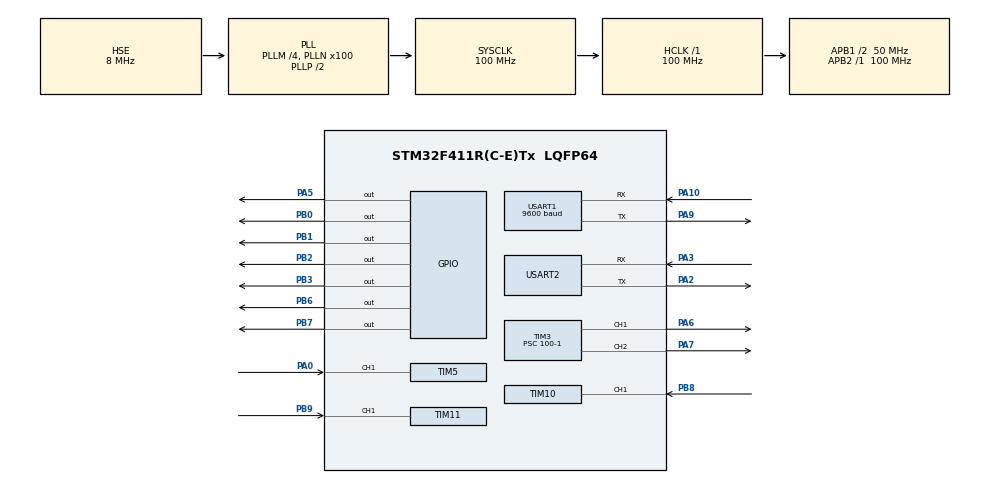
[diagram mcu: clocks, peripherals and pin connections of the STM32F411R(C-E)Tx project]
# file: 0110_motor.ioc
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Mcu.Family=STM32F4
Mcu.Name=STM32F411R(C-E)Tx
Mcu.Package=LQFP64
NVIC.PriorityGroup=NVIC_PRIORITYGROUP_4
NVIC.TIM1_TRG_COM_TIM11_IRQn=true\:0\:0\:false\:false\:true\:true\:true\:true
NVIC.TIM1_UP_TIM10_IRQn=true\:0\:0\:false\:false\:true\:true\:true\:true
NVIC.TIM5_IRQn=true\:0\:0\:false\:false\:true\:true\:true\:true
NVIC.USART1_IRQn=true\:0\:0\:false\:false\:true\:true\:true\:true
NVIC.USART2_IRQn=true\:0\:0\:false\:false\:true\:true\:true\:true
PA0-WKUP.Signal=S_TIM5_CH1
PA10.Mode=Asynchronous
PA10.Signal=USART1_RX
PA13.Mode=Serial_Wire
PA13.Signal=SYS_JTMS-SWDIO
PA14.Mode=Serial_Wire
PA14.Signal=SYS_JTCK-SWCLK
PA2.Mode=Asynchronous
PA2.Signal=USART2_TX
PA3.Mode=Asynchronous
PA3.Signal=USART2_RX
PA5.GPIO_Speed=GPIO_SPEED_FREQ_HIGH
PA5.Signal=GPIO_Output
PA6.Signal=S_TIM3_CH1
PA7.Signal=S_TIM3_CH2
PA9.Mode=Asynchronous
PA9.Signal=USART1_TX
PB0.Signal=GPIO_Output
PB1.Signal=GPIO_Output
PB2.Signal=GPIO_Output
PB3.Signal=GPIO_Output
PB6.GPIO_Speed=GPIO_SPEED_FREQ_HIGH
PB6.Signal=GPIO_Output
PB7.GPIO_Speed=GPIO_SPEED_FREQ_HIGH
PB7.Signal=GPIO_Output
PB8.Signal=S_TIM10_CH1
PB9.Signal=S_TIM11_CH1
PH0\ -\ OSC_IN.Mode=HSE-External-Oscillator
PH0\ -\ OSC_IN.Signal=RCC_OSC_IN
PH1\ -\ OSC_OUT.Mode=HSE-External-Oscillator
PH1\ -\ OSC_OUT.Signal=RCC_OSC_OUT
ProjectManager.HeapSize=0x200
ProjectManager.StackSize=0x400
ProjectManager.TargetToolchain=STM32CubeIDE
RCC.48MHZClocksFreq_Value=50000000
RCC.AHBFreq_Value=100000000
RCC.APB1CLKDivider=RCC_HCLK_DIV2
RCC.APB1Freq_Value=50000000
RCC.APB1TimFreq_Value=100000000
RCC.APB2Freq_Value=100000000
RCC.APB2TimFreq_Value=100000000
RCC.CortexFreq_Value=100000000
RCC.HCLKFreq_Value=100000000
RCC.HSE_VALUE=8000000
RCC.HSI_VALUE=16000000
RCC.LSE_VALUE=32768
RCC.PLLM=4
RCC.PLLN=100
RCC.PLLSourceVirtual=RCC_PLLSOURCE_HSE
RCC.RCC_RTC_Clock_Source=RCC_RTCCLKSOURCE_LSI
RCC.RCC_RTC_Clock_SourceVirtual=RCC_RTCCLKSOURCE_LSI
RCC.SYSCLKFreq_VALUE=100000000
RCC.SYSCLKSource=RCC_SYSCLKSOURCE_PLLCLK
RCC.VCOOutputFreq_Value=200000000
SH.S_TIM10_CH1.0=TIM10_CH1,Input_Capture1_from_TI1
SH.S_TIM11_CH1.0=TIM11_CH1,Input_Capture1_from_TI1
SH.S_TIM3_CH1.0=TIM3_CH1,PWM Generation1 CH1
SH.S_TIM3_CH2.0=TIM3_CH2,PWM Generation2 CH2
SH.S_TIM5_CH1.0=TIM5_CH1,Input_Capture1_from_TI1
TIM10.Channel=TIM_CHANNEL_1
TIM10.Prescaler=100-1
TIM11.Channel=TIM_CHANNEL_1
TIM11.Prescaler=100-1
TIM3.Channel-PWM\ Generation1\ CH1=TIM_CHANNEL_1
TIM3.Channel-PWM\ Generation2\ CH2=TIM_CHANNEL_2
TIM3.Period=1000-1
TIM3.Prescaler=100-1
TIM5.Channel-Input_Capture1_from_TI1=TIM_CHANNEL_1
TIM5.Prescaler=100-1
USART1.BaudRate=9600
USART1.VirtualMode=VM_ASYNC
USART2.VirtualMode=VM_ASYNC
VP_TIM10_VS_ClockSourceINT.Mode=Enable_Timer
VP_TIM11_VS_ClockSourceINT.Mode=Enable_Timer
VP_TIM3_VS_ClockSourceINT.Mode=Internal
VP_TIM5_VS_ClockSourceINT.Mode=Internal
board=custom

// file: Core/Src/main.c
/* USER CODE BEGIN Header */
/**
  ******************************************************************************
  * @file           : main.c
  * @brief          : Main program body
  ******************************************************************************
  * @attention
  *
  * Copyright (c) 2025 STMicroelectronics.
  * All rights reserved.
  *
  * This software is licensed under terms that can be found in the LICENSE file
  * in the root directory of this software component.
  * If no LICENSE file comes with this software, it is provided AS-IS.
  *
  ******************************************************************************
  */
/* USER CODE END Header */
#include "main.h"
#include "tim.h"
#include "usart.h"
#include "gpio.h"

/* USER CODE BEGIN Includes */
#include "stm32f4xx_hal.h"
#include "ultrasonic.h"
/* USER CODE END Includes */

/* USER CODE BEGIN PTD */
typedef enum {
    FORWARD_DIR = 0,   // 정방향
    BACKWARD_DIR = 1,   // 역방향
    RIGHT_TURN = 2,
    LEFT_TURN = 3,
    BREAKING = 4
} Motor_Direction;

typedef enum {
  STOP_CAR = 0,   // RC 대기
  START_CAR = 1 // RC 시작
} CAR_Starting;

typedef enum {
    STOP_MODE = 0,
    MANUAL_MODE = 2, // 수동모드
    SELF_DRIVING_MODE = 3 // 자율주행 모드
} RC_Mode;

/* USER CODE END PTD */

/* USER CODE BEGIN PD */
#define RX_BUFFER_SIZE 64

#define FORWARD 'F'
#define BACKWARD 'B'
#define LEFT 'L'
#define RIGHT 'R'
#define CIRCLE 'C'
#define CROSS 'X'
#define TRIANGLE 'T'
#define SQUARE 'S'
#define START 'A'
#define PAUSE 'P'

/* USER CODE END PD */

/* USER CODE BEGIN PV */

//uint8_t readData_in2;
//uint8_t readData_in3;

uint8_t rx_buffer[RX_BUFFER_SIZE];
uint16_t rx_index = 0;

uint8_t rx_data[64];

uint16_t pwm_num;

uint8_t rc_start = 0; // 테스트 후 삭제
uint8_t rc_mode = 0;    // 테스트 후 삭제
uint8_t ultra_test = 0; // 테스트 후 삭제

uint16_t FL_Dist = 0;
uint16_t FR_Dist = 0;
uint16_t B_Dist = 0;

uint8_t current_state = 0;  // Call the function and store its result

/* USER CODE END PV */

void SystemClock_Config(void);
/* USER CODE BEGIN PFP */
void HC06_SendData(uint8_t *data, uint16_t size);
/* USER CODE END PFP */

/* USER CODE BEGIN 0 */

void Motor_Control(void) {
  // 모터 1 정방향
  HAL_GPIO_WritePin(GPIOB, GPIO_PIN_0, GPIO_PIN_SET);
  HAL_GPIO_WritePin(GPIOB, GPIO_PIN_1, GPIO_PIN_RESET);

  // 모터 2 정방향
  HAL_GPIO_WritePin(GPIOB, GPIO_PIN_2, GPIO_PIN_SET);
  HAL_GPIO_WritePin(GPIOB, GPIO_PIN_3, GPIO_PIN_RESET);

  HAL_Delay(3000);  // 3초 대기

  // 모터 1 역방향
  HAL_GPIO_WritePin(GPIOB, GPIO_PIN_0, GPIO_PIN_RESET);
  HAL_GPIO_WritePin(GPIOB, GPIO_PIN_1, GPIO_PIN_SET);

  // 모터 2 역방향
  HAL_GPIO_WritePin(GPIOB, GPIO_PIN_2, GPIO_PIN_RESET);
  HAL_GPIO_WritePin(GPIOB, GPIO_PIN_3, GPIO_PIN_SET);

  HAL_Delay(3000);  // 3초 대기

  // 모터 정지
  HAL_GPIO_WritePin(GPIOB, GPIO_PIN_0, GPIO_PIN_RESET);
  HAL_GPIO_WritePin(GPIOB, GPIO_PIN_1, GPIO_PIN_RESET);
  HAL_GPIO_WritePin(GPIOB, GPIO_PIN_2, GPIO_PIN_RESET);
  HAL_GPIO_WritePin(GPIOB, GPIO_PIN_3, GPIO_PIN_RESET);
}

void Motor_PWM_Control(uint16_t pwm_num) {
  // 모터 1 (채널 1, PA6) 속도 설정 (0-1000)
  __HAL_TIM_SET_COMPARE(&htim3, TIM_CHANNEL_1, pwm_num);

  // 모터 2 (채널 2, PA7) 속도 설정 (0-1000)
  __HAL_TIM_SET_COMPARE(&htim3, TIM_CHANNEL_2, pwm_num);

  // PWM 시작 (CubeMX에서 이미 설정했다면 불필요)
  HAL_TIM_PWM_Start(&htim3, TIM_CHANNEL_1);
  HAL_TIM_PWM_Start(&htim3, TIM_CHANNEL_2);
}

void Motor_Direction_Control(Motor_Direction dir) {
//void Motor_Direction_Control() {
  // PB0, PB1: 모터 1 방향 제어
  // PB2, PB3: 모터 2 방향 제어
  switch(dir){
    case FORWARD_DIR:
      HAL_GPIO_WritePin(GPIOB, GPIO_PIN_0, GPIO_PIN_SET);   // 정방향
      HAL_GPIO_WritePin(GPIOB, GPIO_PIN_1, GPIO_PIN_RESET);
      HAL_GPIO_WritePin(GPIOB, GPIO_PIN_2, GPIO_PIN_SET);   // 정방향
      HAL_GPIO_WritePin(GPIOB, GPIO_PIN_3, GPIO_PIN_RESET);
      break;

    case BACKWARD_DIR:
      HAL_GPIO_WritePin(GPIOB, GPIO_PIN_0, GPIO_PIN_RESET);
      HAL_GPIO_WritePin(GPIOB, GPIO_PIN_1, GPIO_PIN_SET);
      HAL_GPIO_WritePin(GPIOB, GPIO_PIN_2, GPIO_PIN_RESET);
      HAL_GPIO_WritePin(GPIOB, GPIO_PIN_3, GPIO_PIN_SET);
      break;

    case RIGHT_TURN:
      HAL_GPIO_WritePin(GPIOB, GPIO_PIN_0, GPIO_PIN_SET);
      HAL_GPIO_WritePin(GPIOB, GPIO_PIN_1, GPIO_PIN_RESET);
      HAL_GPIO_WritePin(GPIOB, GPIO_PIN_2, GPIO_PIN_RESET);
      HAL_GPIO_WritePin(GPIOB, GPIO_PIN_3, GPIO_PIN_SET);
      break;

    case LEFT_TURN:
      HAL_GPIO_WritePin(GPIOB, GPIO_PIN_0, GPIO_PIN_RESET);
      HAL_GPIO_WritePin(GPIOB, GPIO_PIN_1, GPIO_PIN_SET);
      HAL_GPIO_WritePin(GPIOB, GPIO_PIN_2, GPIO_PIN_SET);
      HAL_GPIO_WritePin(GPIOB, GPIO_PIN_3, GPIO_PIN_RESET);
      break;
  }

}

uint8_t Self_Driving_state(void){

  uint16_t Dist_Compare;
  Dist_Compare = FL_Dist - FR_Dist;

  if(FL_Dist >= 30 && FR_Dist >= 30){
    return FORWARD;
  }
  else if(Dist_Compare > 0 && FL_Dist > 20){  // 왼쪽으로 치우침
    return LEFT;
  }
  else if(Dist_Compare < 0 && FR_Dist > 20){  // 오른쪽으로 치우침
    return RIGHT;
  }
  else if(B_Dist >= 20){
    return BACKWARD;
  }
  else{
    return BREAKING;
  }

}

/* USER CODE END 0 */

int main(void)
{

  /* MCU Configuration--------------------------------------------------------*/

  /* Reset of all peripherals, Initializes the Flash interface and the Systick. */
  HAL_Init();

  /* Configure the system clock */
  SystemClock_Config();

  /* Initialize all configured peripherals */
  MX_GPIO_Init();
  MX_USART2_UART_Init();
  MX_TIM3_Init();
  MX_USART1_UART_Init();
  MX_TIM5_Init();
  MX_TIM10_Init();
  MX_TIM11_Init();
  /* USER CODE BEGIN 2 */
  HAL_UART_Receive_IT(&huart2, &ultra_test, 1);
  HAL_TIM_Base_Start(&htim10);  // Delay용

  HC06_StartReceive();
  HCSR04_Init();

  pwm_num = 450;

//  uint8_t rc_start = 0;
//  uint8_t rc_mode = 0;
  /* USER CODE END 2 */

  /* Infinite loop */
  /* USER CODE BEGIN WHILE */
  while (1)
  {
    // Check if data is available from Bluetooth
    HCSR04_Read();

    FL_Dist = Get_Distance1() - 3;
    FR_Dist = Get_Distance2();
    B_Dist = Get_Distance3();

    if (HC06_DataAvailable())
    {

      uint16_t data_length = HC06_GetReceivedData(rx_data, sizeof(rx_data));

      if (data_length > 0)    // RC카 시작 / 대기
      {
        switch(rx_data[0]){
          case PAUSE:
            rc_start = STOP_CAR;
            rc_mode = STOP_MODE;
            Motor_PWM_Control(0);        // 브레이크
            break;
          case START:
            rc_start = START_CAR;
            rc_mode = STOP_MODE;
            Motor_PWM_Control(0);        // 브레이크
            break;
          default:
            break;
        }
      }

      if (rc_start == START_CAR && data_length > 0)
      {
        switch(rx_data[0]){
        case SQUARE:
          Motor_PWM_Control(0);        // 브레이크
          HAL_Delay(500);
          rc_mode = MANUAL_MODE;
          break;
        case CIRCLE:
          Motor_PWM_Control(0);        // 브레이크
          HAL_Delay(500);
          rc_mode = SELF_DRIVING_MODE;
          break;
        case TRIANGLE:      //속도 업
          // Perform action for moving forward
          pwm_num += 10;
          break;
        case CROSS:         //속도 다운
          // Perform action for moving backward
          pwm_num -= 10;
          break;
        default:
          break;
        }
      }

      if (rc_mode == MANUAL_MODE && data_length > 0)
      {
        switch(rx_data[0]){
          case FORWARD:        // 전진
            // Perform action for turning left
            Motor_Direction_Control(FORWARD_DIR);  // 방향 설정
            Motor_PWM_Control(pwm_num);        // 속도 제어
            break;
          case BACKWARD:       // 후진
            // Perform action for turning right
            Motor_Direction_Control(BACKWARD_DIR);  // 방향 설정
            Motor_PWM_Control(400);        // 속도 제어
            break;
          case RIGHT:        //우회전
            // Perform action for turning left
            Motor_Direction_Control(RIGHT_TURN);  // 방향 설정
            Motor_PWM_Control(pwm_num - 50);        // 속도 제어
            break;
          case LEFT:       // 좌회전
            // Perform action for turning right
            Motor_Direction_Control(LEFT_TURN);  // 방향 설정
            Motor_PWM_Control(pwm_num - 50);        // 속도 제어
            break;
          default:
            break;
        }
      }

      uint8_t hello_msg[] = "Completed\r\n";
      HC06_SendData(hello_msg, sizeof(hello_msg) - 1);

        // Set flag to prevent further messages
//        hello_sent = 1;
    }

    if (rc_mode == SELF_DRIVING_MODE )
    {
      current_state = Self_Driving_state();  // Call the function and store its result

      switch(current_state){
        case FORWARD:        // 전진
          // Perform action for turning left
          Motor_Direction_Control(FORWARD_DIR);  // 방향 설정
          Motor_PWM_Control(pwm_num);        // 속도 제어
          break;
        case BACKWARD:       // 후진
          // Perform action for turning right
          Motor_Direction_Control(BACKWARD_DIR);  // 방향 설정
          Motor_PWM_Control(pwm_num);        // 속도 제어
          break;
        case RIGHT:        //우회전
          // Perform action for turning left
          Motor_Direction_Control(RIGHT_TURN);  // 방향 설정
          Motor_PWM_Control(pwm_num - 50);        // 속도 제어
          HAL_Delay(100);
          break;
        case LEFT:       // 좌회전
          // Perform action for turning right
          Motor_Direction_Control(LEFT_TURN);  // 방향 설정
          Motor_PWM_Control(pwm_num - 50);        // 속도 제어
          HAL_Delay(100);
          break;
        case BREAKING:
          Motor_PWM_Control(0);        // 브레이크
          break;
        default:
          break;
      }
    }
  }

    HAL_Delay(100);  // Small delay to prevent blocking

    /* USER CODE END WHILE */

}

void SystemClock_Config(void)
{
  RCC_OscInitTypeDef RCC_OscInitStruct = {0};
  RCC_ClkInitTypeDef RCC_ClkInitStruct = {0};

  /** Configure the main internal regulator output voltage
  */
  __HAL_RCC_PWR_CLK_ENABLE();
  __HAL_PWR_VOLTAGESCALING_CONFIG(PWR_REGULATOR_VOLTAGE_SCALE1);

  /** Initializes the RCC Oscillators according to the specified parameters
  * in the RCC_OscInitTypeDef structure.
  */
  RCC_OscInitStruct.OscillatorType = RCC_OSCILLATORTYPE_HSE;
  RCC_OscInitStruct.HSEState = RCC_HSE_ON;
  RCC_OscInitStruct.PLL.PLLState = RCC_PLL_ON;
  RCC_OscInitStruct.PLL.PLLSource = RCC_PLLSOURCE_HSE;
  RCC_OscInitStruct.PLL.PLLM = 4;
  RCC_OscInitStruct.PLL.PLLN = 100;
  RCC_OscInitStruct.PLL.PLLP = RCC_PLLP_DIV2;
  RCC_OscInitStruct.PLL.PLLQ = 4;
  if (HAL_RCC_OscConfig(&RCC_OscInitStruct) != HAL_OK)
  {
    Error_Handler();
  }

  /** Initializes the CPU, AHB and APB buses clocks
  */
  RCC_ClkInitStruct.ClockType = RCC_CLOCKTYPE_HCLK|RCC_CLOCKTYPE_SYSCLK
                              |RCC_CLOCKTYPE_PCLK1|RCC_CLOCKTYPE_PCLK2;
  RCC_ClkInitStruct.SYSCLKSource = RCC_SYSCLKSOURCE_PLLCLK;
  RCC_ClkInitStruct.AHBCLKDivider = RCC_SYSCLK_DIV1;
  RCC_ClkInitStruct.APB1CLKDivider = RCC_HCLK_DIV2;
  RCC_ClkInitStruct.APB2CLKDivider = RCC_HCLK_DIV1;

  if (HAL_RCC_ClockConfig(&RCC_ClkInitStruct, FLASH_LATENCY_3) != HAL_OK)
  {
    Error_Handler();
  }
}

void Error_Handler(void)
{
  __disable_irq();
  while (1)
  {
  }
}
